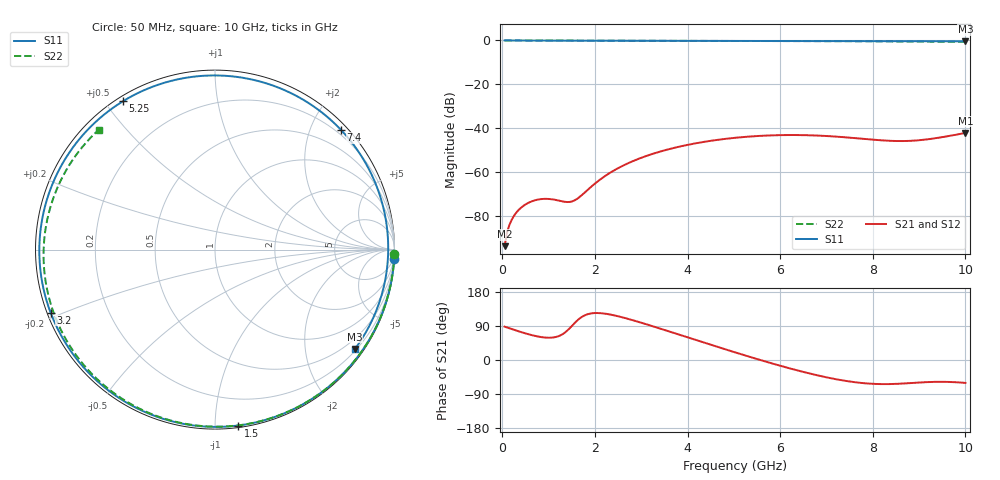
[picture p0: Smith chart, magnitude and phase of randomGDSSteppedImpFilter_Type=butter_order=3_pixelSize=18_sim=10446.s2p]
! freq	dB(S11)	phase(S11)	dB(S12)	phase(S12)
!  dB(S21)	phase(S21)	dB(S22)	phase(S22)
!S-par simulation data
#  GHz  S  DB  R 50
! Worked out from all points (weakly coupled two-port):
!   200 points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, 50 MHz to 10 GHz, reference 50 ohm
!   highest |S21| = -42.09 dB at 10 GHz (marker M1); lowest = -93.6 dB at 50 MHz (marker M2)
!   lowest |S11| = -0.4 dB at 10 GHz (marker M3), VSWR 44.62, Z = 12 - j156 ohm
!   |S11| at or under -10 dB: nowhere
!   |S22| runs from -0.6 to 0.0 dB; largest |S21 - S12| = 0
!   S11 on the Smith chart (normalised r, x): 50 MHz: 0, -39; 1.5 GHz: 0.01, -1.14; 3.2 GHz: 0.01, -0.18; 5.25 GHz: 0.02, +0.56; 7.4 GHz: 0.12, +2.50; 10 GHz: 0.24, -3.11
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0.05  -0.00 -2.9  -93.58 87.9  -93.58 87.9  -0.00 -1.3
0.25  -0.02 -14.5  -79.84 79.8  -79.84 79.8  -0.01 -6.6
0.45  -0.04 -25.9  -75.32 72.0  -75.32 72.0  -0.02 -11.8
0.75  -0.06 -42.7  -72.48 62.5  -72.48 62.5  -0.03 -19.6
1.15  -0.08 -64.4  -72.52 60.5  -72.52 60.5  -0.04 -30.0
1.5  -0.10 -82.5  -73.26 89.5  -73.26 89.5  -0.05 -38.9
1.75  -0.11 -94.9  -69.74 116.0  -69.74 116.0  -0.06 -45.1
2.4  -0.14 -125.1  -59.28 118.3  -59.28 118.3  -0.08 -61.0
2.8  -0.15 -142.5  -55.07 105.6  -55.07 105.6  -0.09 -70.5
3.2  -0.17 -159.1  -51.90 90.9  -51.90 90.9  -0.10 -79.8
3.4  -0.17 -167.1  -50.60 83.2  -50.60 83.2  -0.11 -84.4
3.8  -0.19 177.1  -48.41 67.6  -48.41 67.6  -0.12 -93.3
4.2  -0.20 161.6  -46.69 52.0  -46.69 52.0  -0.14 -102.0
5.05  -0.23 129.4  -44.23 19.3  -44.23 19.3  -0.18 -120.0
5.25  -0.24 121.9  -43.86 11.8  -43.86 11.8  -0.19 -124.2
5.95  -0.26 95.8  -43.09 -13.4  -43.09 -13.4  -0.23 -138.5
6.7  -0.27 68.4  -43.18 -37.5  -43.18 -37.5  -0.29 -153.7
7.4  -0.28 43.6  -44.04 -54.9  -44.04 -54.9  -0.35 -168.0
7.9  -0.29 26.6  -44.95 -62.1  -44.95 -62.1  -0.39 -178.4
8.35  -0.30 12.0  -45.63 -63.6  -45.63 -63.6  -0.44 172.0
9.1  -0.33 -10.8  -45.18 -58.8  -45.18 -58.8  -0.52 155.4
10  -0.39 -35.4  -42.09 -60.4  -42.09 -60.4  -0.63 134.0
